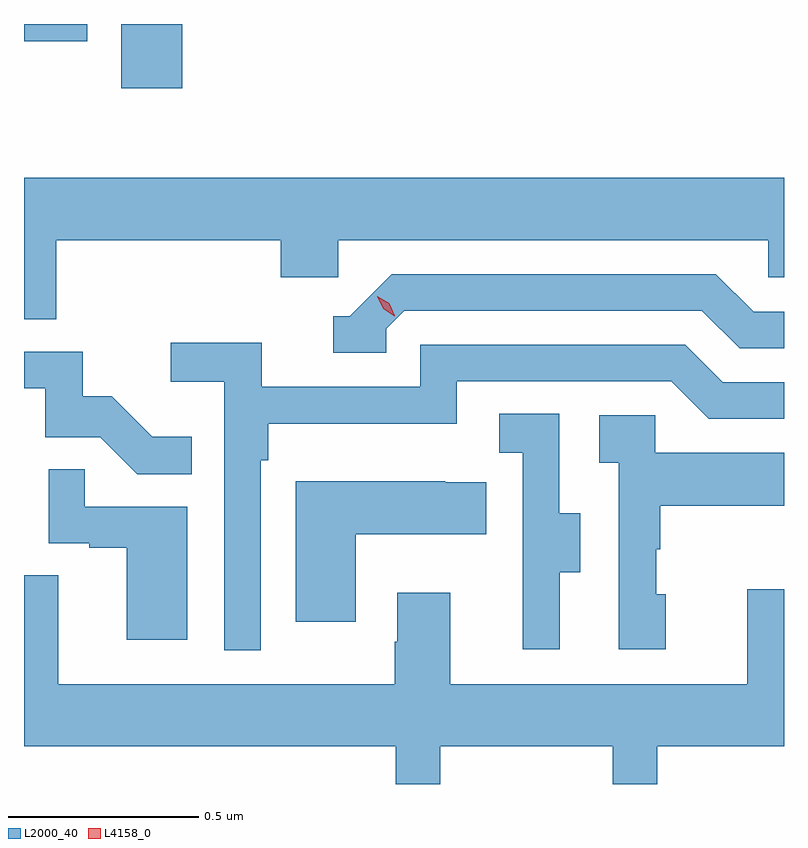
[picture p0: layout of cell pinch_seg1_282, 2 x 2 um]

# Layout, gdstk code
import gdstk
lib = gdstk.Library(unit=1e-6, precision=1e-09)
def R(c, l, rs):  # rectangles x0, y0, x1, y1
    for r in rs: c.add(gdstk.rectangle(r[:2], r[2:], *l))
def P(c, l, *ps):  # polygons
    for p in ps: c.add(gdstk.Polygon(p, *l))
L2000_40 = (2000, 40)
L4158_0 = (4158, 0)

pinch_seg1_282 = lib.new_cell('pinch_seg1_282')
R(pinch_seg1_282, L2000_40, [(926.345,544.14,926.506,544.309), (926.089,544.263,926.256,544.309)])
P(pinch_seg1_282, L2000_40, [(926.174,543.74),(926.765,543.74),(926.765,543.642),(926.916,543.642),(926.916,543.74),(928.047,543.74),(928.047,543.642),(928.089,543.642),(928.089,543.904),(926.089,543.904),(926.089,543.532),(926.174,543.532)],
  [(927.042,543.507),(927.09,543.555),(927.873,543.555),(927.972,543.456),(928.089,543.456),(928.089,543.552),(928.009,543.552),(927.91,543.651),(927.057,543.651),(926.946,543.54),(926.903,543.54),(926.903,543.444),(927.042,543.444)],
  [(926.712,543.161),(926.732,543.161),(926.732,543.257),(927.228,543.257),(927.228,543.369),(927.792,543.369),(927.891,543.27),(928.089,543.27),(928.089,543.366),(927.928,543.366),(927.829,543.465),(927.132,543.465),(927.132,543.354),(926.714,543.354),(926.714,543.47),(926.475,543.47),(926.475,543.368),(926.616,543.368),(926.616,542.661),(926.712,542.661)],
  [(926.531,543.223),(926.427,543.223),(926.32,543.33),(926.244,543.33),(926.244,543.447),(926.089,543.447),(926.089,543.351),(926.145,543.351),(926.145,543.222),(926.289,543.222),(926.387,543.124),(926.531,543.124)],
  [(927.499,542.866),(927.553,542.866),(927.553,543.021),(927.498,543.021),(927.498,543.284),(927.339,543.284),(927.339,543.181),(927.402,543.181),(927.402,542.877),(927.401,542.877),(927.401,542.664),(927.499,542.664)],
  [(927.778,542.808),(927.753,542.808),(927.753,542.927),(927.763,542.927),(927.763,543.041),(928.089,543.041),(928.089,543.181),(927.75,543.181),(927.75,543.279),(927.603,543.279),(927.603,543.155),(927.654,543.155),(927.654,542.664),(927.778,542.664)],
  [(926.518,543.039),(926.249,543.039),(926.249,543.137),(926.154,543.137),(926.154,542.943),(926.261,542.943),(926.261,542.931),(926.36,542.931),(926.36,542.688),(926.518,542.688)],
  [(926.962,542.966),(927.305,542.966),(927.305,543.103),(927.197,543.103),(927.197,543.106),(926.804,543.106),(926.804,542.736),(926.962,542.736)],
  [(927.185,542.408),(927.638,542.408),(927.638,542.309),(927.755,542.309),(927.755,542.408),(928.089,542.408),(928.089,542.821),(927.992,542.821),(927.992,542.572),(927.211,542.572),(927.211,542.812),(927.071,542.812),(927.071,542.684),(927.064,542.684),(927.064,542.572),(926.179,542.572),(926.179,542.858),(926.089,542.858),(926.089,542.408),(927.067,542.408),(927.067,542.309),(927.185,542.309)])
P(pinch_seg1_282, L4158_0, [(927.065,543.54),(927.035,543.56),(927.019,543.593),(927.019,543.593),(927.019,543.593),(927.05,543.574),(927.065,543.541),(927.065,543.54)])

lib.write_gds('pinch_seg1_282.gds')
